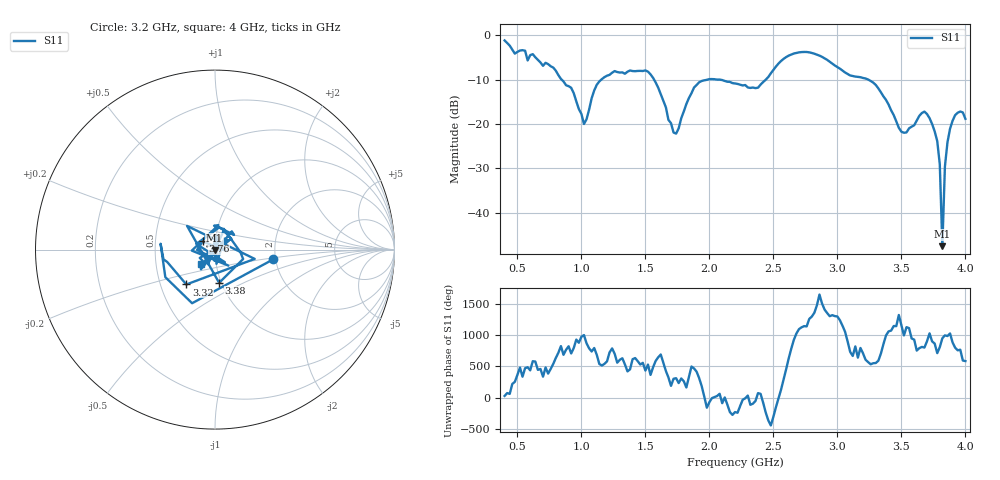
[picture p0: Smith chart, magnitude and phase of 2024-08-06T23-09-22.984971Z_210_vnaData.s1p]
!Created with skrf (http://scikit-rf.org).
# Hz S RI R 50.0
!freq ReS11 ImS11
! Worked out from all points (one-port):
!   181 points, 400 MHz to 4 GHz, reference 50 ohm
!   lowest |S11| = -47.5 dB at 3.82 GHz (marker M1), VSWR 1.01, Z = 49.7 - j0.325 ohm
!   |S11| at or under -10 dB: 1.567 GHz to 1.988 GHz (420.2 MHz wide, 23.6 % of centre); 2.057 GHz to 2.441 GHz (384.3 MHz wide, 17.1 % of centre); 3.24 GHz to end of sweep (the widest 3 of 4)
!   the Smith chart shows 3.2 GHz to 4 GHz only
!   S11 on the Smith chart (normalised r, x): 3.2 GHz: 1.95, -0.24; 3.32 GHz: 0.68, -0.28; 3.38 GHz: 0.98, -0.37; 3.76 GHz: 0.87, +0.08; 4 GHz: 0.84, -0.14
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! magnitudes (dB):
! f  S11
! 400 MHz  -1.2
! 860 MHz  -10.4
! 920 MHz  -11.8
! 1.02 GHz  -20.0
! 1.12 GHz  -11.2
! 1.3 GHz  -8.4
! 1.52 GHz  -8.2
! 1.6 GHz  -11.8
! 1.72 GHz  -21.9
! 1.76 GHz  -21.0
! 1.92 GHz  -10.6
! 2.2 GHz  -10.9
! 2.38 GHz  -11.8
! 2.66 GHz  -4.1
! 3.1 GHz  -9.1
! 3.2 GHz  -9.6
! 3.32 GHz  -12.0
! 3.38 GHz  -14.6
! 3.5 GHz  -21.7
! 3.56 GHz  -21.0
! 3.68 GHz  -17.2
! 3.76 GHz  -21.7
! 3.8 GHz  -29.1
! 3.82 GHz  -47.5
! 3.84 GHz  -29.6
! 3.86 GHz  -24.1
! 3.92 GHz  -18.0
! 4 GHz  -18.8
